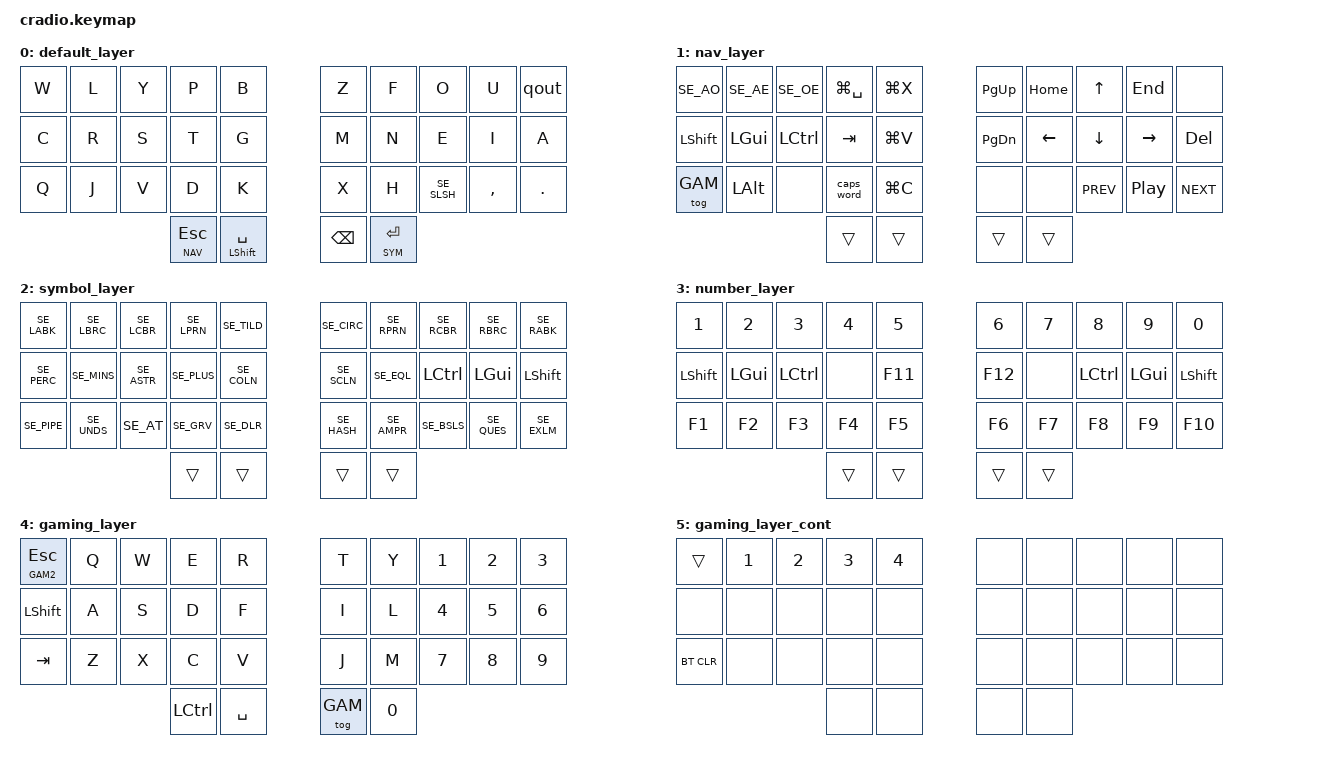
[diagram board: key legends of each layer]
// Copyright (c) 2022 The ZMK Contributors
// SPDX-License-Identifier: MIT

#include <behaviors.dtsi>
#include <dt-bindings/zmk/keys.h>
#include <dt-bindings/zmk/bt.h>

#include "swedish.h"

#define NAV 1
#define SYM 2
#define NUM 3
#define GAM 4
#define GAM2 5

&caps_word {
    continue-list = <SE_UNDS BACKSPACE DELETE SE_AO SE_AE SE_OE>;
};

/ {
    behaviors {
        ht: hold_tap {
            label = "hold_tap";
            compatible = "zmk,behavior-hold-tap";
            #binding-cells = <2>;
            flavor = "tap-preferred";
            tapping-term-ms = <200>;
            bindings = <&kp>, <&kp>;
        };
        htl: hold_tap_layer {
            label = "hold_tap_layer";
            compatible = "zmk,behavior-hold-tap";
            #binding-cells = <2>;
            flavor = "hold-preferred";
            tapping-term-ms = <300>;
            // quick-tap-ms = -1;
            global-quick-tap;
            bindings = <&mo>, <&kp>;
        };
        qout: progq {
            compatible = "zmk,behavior-mod-morph";
            label = "Quot key";
            #binding-cells = <0>;
            bindings = <&kp SE_QUOT>, <&kp SE_DQUO>;
            mods = <(MOD_LSFT)>;
        };
    };

    conditional_layers {
        compatible = "zmk,conditional-layers";
        tri_layer {
            if-layers = <NAV SYM>;
            then-layer = <NUM>;
        };
    };

    keymap {
        compatible = "zmk,keymap";
        default_layer {
            bindings = <
        //╭──────────┬──────────┬──────────┬──────────┬──────────╮   ╭──────────┬──────────┬──────────┬──────────┬──────────╮
        //│  W       │  L       │  Y       │  P       │  B       │   │  Z       │  F       │  O       │  U       │ '        │
             &kp W      &kp L      &kp Y     &kp P       &kp B          &kp Z      &kp F      &kp O      &kp U    &qout
        //├──────────┼──────────┼──────────┼──────────┼──────────┤   ├──────────┼──────────┼──────────┼──────────┼──────────┤
        //│  C       │  R       │  S       │  T       │  G       │   │  M       │  N       │  E       │  I       │ A        │
             &kp C      &kp R      &kp S      &kp T      &kp G          &kp M      &kp N      &kp E      &kp I     &kp A
        //├──────────┼──────────┼──────────┼──────────┼──────────┤   ├──────────┼──────────┼──────────┼──────────┼──────────┤
        //│  Q       │  J       │  V       │  D       │  K       │   │  X       │  H       │ /        │ ,        │ .        │
             &kp Q      &kp J      &kp V      &kp D      &kp K          &kp X      &kp H     &kp SE_SLSH &kp COMMA &kp DOT
        //╰──────────┴──────────┴──────────┼──────────┼──────────┤   ├──────────┼──────────┼──────────┴──────────┴──────────╯
                                             &htl NAV ESC &ht LSHIFT SPACE    &kp BSPC   &htl SYM ENTER
        //                                 ╰──────────┴──────────╯   ╰──────────┴──────────╯
            >;
        };

        nav_layer {
            bindings = <
        //╭──────────┬──────────┬──────────┬──────────┬──────────╮   ╭──────────┬──────────┬──────────┬──────────┬──────────╮
        //│ Å        │ Ä        │ Ö        │ FlyP     │ CUT      │   │ PG UP    │ HOME     │ UP       │ END      │          │
            &kp SE_AO  &kp SE_AE  &kp SE_OE  &kp LG(SPACE) &kp LG(X)   &kp PG_UP  &kp HOME   &kp UP     &kp END    &none
        //├──────────┼──────────┼──────────┼──────────┼──────────┤   ├──────────┼──────────┼──────────┼──────────┼──────────┤
        //│ SHIFT    │ META     │ CTRL     │ TAB      │ PASTE    │   │ PG DWN   │ LEFT     │ DOWN     │ RIGHT    │ DEL      │
            &kp LSHIFT &kp LGUI   &kp LCTRL  &kp TAB    &kp LG(V)      &kp PG_DN  &kp LEFT   &kp DOWN   &kp RIGHT  &kp DEL
        //├──────────┼──────────┼──────────┼──────────┼──────────┤   ├──────────┼──────────┼──────────┼──────────┼──────────┤
        //│ Game     │          │          │          │ Copy     │   │          │          │ Prev     │ Play     │ Next     │
            &tog GAM   &kp LALT   &none      &caps_word &kp LG(C)     &none      &none       &kp C_PREV &kp C_PP   &kp C_NEXT
        //╰──────────┴──────────┴──────────┼──────────┼──────────┤   ├──────────┼──────────┼──────────┴──────────┴──────────╯
                                             &trans     &trans         &trans     &trans
        //                                 ╰──────────┴──────────╯   ╰──────────┴──────────╯
            >;
        };

        symbol_layer {
            bindings = <
        //╭──────────┬──────────┬──────────┬──────────┬──────────╮   ╭──────────┬──────────┬──────────┬──────────┬──────────╮
        //│ <        │ [        │  {       │  (       │ ~        │   │  ^       │  )       │  }       │  ]       │  >       │
            &kp SE_LABK &kp SE_LBRC &kp SE_LCBR &kp SE_LPRN &kp SE_TILD &kp SE_CIRC &kp SE_RPRN &kp SE_RCBR &kp SE_RBRC &kp SE_RABK
        //├──────────┼──────────┼──────────┼──────────┼──── ─────┤   ├──────────┼──────────┼──────────┼──────────┼──────────┤
        //│ %        │  -       │  *       │  +       │ :        │   │  ;       │ =        │ CTRL     │ META     │  SHIFT   │
            &kp SE_PERC &kp SE_MINS &kp SE_ASTR &kp SE_PLUS &kp SE_COLN &kp SE_SCLN &kp SE_EQL &kp LCTRL &kp LGUI  &kp LSHIFT                                                                                                            
        //├──────────┼──────────┼──────────┼──────────┼──────────┤   ├──────────┼──────────┼──────────┼──────────┼──────────┤
        //│ |        │ _        │ @        │ `        │ $        │   │ #        │ &        │ \        │  ?       │ !        │
            &kp SE_PIPE &kp SE_UNDS &kp SE_AT &kp SE_GRV &kp SE_DLR    &kp SE_HASH &kp SE_AMPR &kp SE_BSLS &kp SE_QUES &kp SE_EXLM
        //╰──────────┴──────────┴──────────┼──────────┼──────────┤   ├──────────┼──────────┼──────────┴──────────┴──────────╯
                                             &trans     &trans         &trans     &trans
        //                                 ╰──────────┴──────────╯   ╰──────────┴──────────╯
            >;
        };

        number_layer {
            bindings = <
        //╭──────────┬──────────┬──────────┬──────────┬──────────╮   ╭──────────┬──────────┬──────────┬──────────┬──────────╮
        //│ 1        │ 2        │ 3        │ 4        │ 5        │   │ 6        │ 7        │ 8        │ 9        │ 0        │
            &kp N1     &kp N2     &kp N3     &kp N4     &kp N5         &kp N6     &kp N7     &kp N8     &kp N9     &kp N0
        //├──────────┼──────────┼──────────┼──────────┼──────────┤   ├──────────┼──────────┼──────────┼──────────┼──────────┤
        //│ SHIFT    │ META     │ CTRL     │          │ F11      │   │ F12      │          │ CTRL     │ META     │ SHIFT    │
            &kp LSHIFT &kp LGUI  &kp LCTRL   &none      &kp F11        &kp F12    &none      &kp LCTRL  &kp LGUI   &kp LSHIFT
        //├──────────┼──────────┼──────────┼──────────┼──────────┤   ├──────────┼──────────┼──────────┼──────────┼──────────┤
        //│ F1       │ F2       │ F3       │ F4       │ F5       │   │ F6       │ F7       │ F8       │ F9       │ F10      │
            &kp F1     &kp F2     &kp F3    &kp F4      &kp F5         &kp F6     &kp F7     &kp F8     &kp F9     &kp F10
        //╰──────────┴──────────┴──────────┼──────────┼──────────┤   ├──────────┼──────────┼──────────┴──────────┴──────────╯
                                             &trans     &trans         &trans     &trans
        //                                 ╰──────────┴──────────╯   ╰──────────┴──────────╯
            >;
        };

        gaming_layer {
            bindings = <
        //╭──────────┬──────────┬──────────┬──────────┬──────────╮   ╭──────────┬──────────┬──────────┬──────────┬──────────╮
        //│ ESC      │ Q        │ W        │ E        │ R        │   │ T        │ Y        │          │          │          │
            &htl GAM2 ESC &kp Q   &kp W      &kp E      &kp R          &kp T      &kp Y      &kp N1     &kp N2     &kp N3
        //├──────────┼──────────┼──────────┼──────────┼──────────┤   ├──────────┼──────────┼──────────┼──────────┼──────────┤
        //│ SHIFT    │ A        │ S        │ D        │ F        │   │ I        │ L        │          │          │          │
            &kp LSHIFT &kp A      &kp S      &kp D      &kp F          &kp I      &kp L      &kp N4     &kp N5     &kp N6
        //├──────────┼──────────┼──────────┼──────────┼──────────┤   ├──────────┼──────────┼──────────┼──────────┼──────────┤
        //│ TAB      │ Z        │ X        │ C        │ V        │   │ J        │ M        │          │          │          │
            &kp TAB    &kp Z      &kp X      &kp C      &kp V          &kp J      &kp M      &kp N7     &kp N8     &kp N9
        //╰──────────┴──────────┴──────────┼──────────┼──────────┤   ├──────────┼──────────┼──────────┴──────────┴──────────╯
                                             &kp LCTRL  &kp SPACE      &tog GAM   &kp N0
        //                                 ╰──────────┴──────────╯   ╰──────────┴──────────╯
            >;
        };

        gaming_layer_cont {
            bindings = <
        //╭──────────┬──────────┬──────────┬──────────┬──────────╮   ╭──────────┬──────────┬──────────┬──────────┬──────────╮
        //│          │ 1        │ 2        │ 3        │ 4        │   │          │          │          │          │          │
            &trans     &kp N1     &kp N2     &kp N3     &kp N4         &none      &none      &none      &none      &none
        //├──────────┼──────────┼──────────┼──────────┼──────────┤   ├──────────┼──────────┼──────────┼──────────┼──────────┤
        //│          │          │          │          │          │   │          │          │          │          │          │
            &none      &none      &none      &none      &none          &none      &none      &none      &none      &none
        //├──────────┼──────────┼──────────┼──────────┼──────────┤   ├──────────┼──────────┼──────────┼──────────┼──────────┤
        //│          │          │          │          │          │   │          │          │          │          │          │
            &bt BT_CLR &none      &none      &none      &none          &none      &none      &none      &none      &none
        //╰──────────┴──────────┴──────────┼──────────┼──────────┤   ├──────────┼──────────┼──────────┴──────────┴──────────╯
                                             &none      &none          &none      &none
        //                                 ╰──────────┴──────────╯   ╰──────────┴──────────╯
            >;
        };
     };
};
